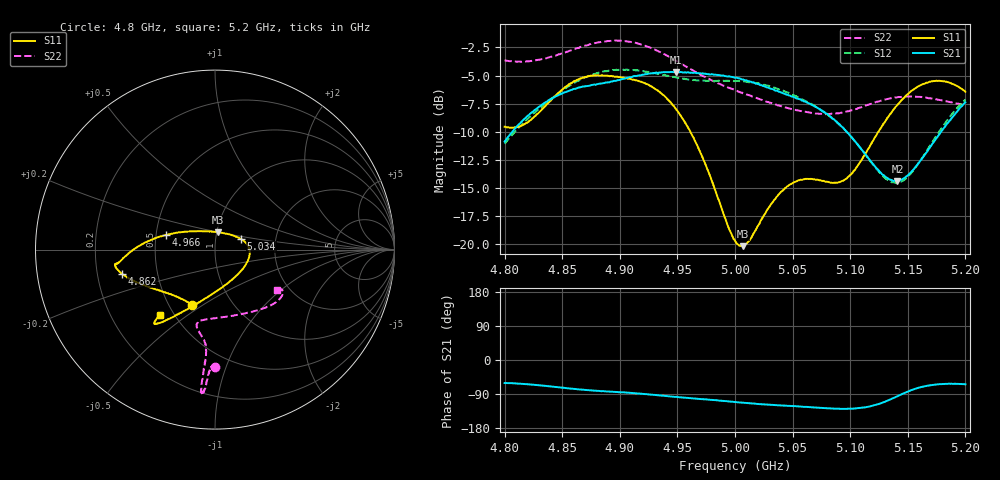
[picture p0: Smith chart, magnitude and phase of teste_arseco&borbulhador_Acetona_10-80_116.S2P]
! Network Analyzer HP8722D
! Hewlett-Packard
! Data name: Linha & Wilkinson
! Saver's name: Rodrigo Anjos
! Comments: Teste da utilização de aquisição
! continua pelo VNA HP8722D
! Time and date: 17/4/2025 15:19
!  Frequency  S11  S21  S12  S22
# HZ  S  MA R 50
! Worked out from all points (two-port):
!   401 points, 4.8 GHz to 5.2 GHz, reference 50 ohm
!   highest |S21| = -4.67 dB at 4.949 GHz (marker M1); lowest = -14.4 dB at 5.141 GHz (marker M2)
!   |S21| within 3 dB of the highest: 4.831 GHz to 5.068 GHz (236.6 MHz wide, 4.78 % of centre); 5.197384 GHz to end of sweep
!   lowest |S11| = -20.2 dB at 5.007 GHz (marker M3), VSWR 1.22, Z = 51 + j9.87 ohm
!   |S11| at or under -10 dB: 4.961 GHz to 5.125 GHz (163.3 MHz wide, 3.24 % of centre)
!   |S22| runs from -8.4 to -1.9 dB; largest |S21 - S12| = 0.88
!   S11 on the Smith chart (normalised r, x): 4.8 GHz: 0.65, -0.45; 4.862 GHz: 0.31, -0.12; 4.966 GHz: 0.57, +0.10; 5.034 GHz: 1.33, +0.16; 5.2 GHz: 0.42, -0.40
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4.8e9  0.3331 -113.0  0.2857 -60.7  0.2796 -174.8  0.6566 -89.9
4.819e9  0.3462 -132.9  0.3677 -63.8  0.3564 -173.3  0.6504 -91.5
4.862e9  0.5352 -165.4  0.4922 -76.7  0.5278 -176.6  0.7419 -93.6
4.867e9  0.5476 -167.3  0.5007 -78.3  0.5432 -177.5  0.7561 -93.9
4.9e9  0.5537 -171.9  0.5374 -85.0  0.597 175.9  0.8036 -95.2
4.934e9  0.4774 -177.9  0.5798 -93.3  0.5721 172.1  0.7183 -95.7
4.949e9  0.3972 174.9  0.5839 -97.0  0.5514 172.2  0.6532 -95.3
4.966e9  0.2828 163.2  0.5771 -101.7  0.5355 173.9  0.5829 -94.9
5e9  0.1038 103.2  0.5498 -110.9  0.5317 176.4  0.4835 -99.1
5.007e9  0.0978 78.9  0.5401 -112.8  0.5291 176.4  0.4683 -100.8
5.013e9  0.1045 60.1  0.5281 -114.3  0.5253 176.2  0.4579 -101.9
5.034e9  0.1571 22.0  0.4856 -119.0  0.497 175.0  0.4191 -103.5
5.049e9  0.1851 6.6  0.4534 -121.4  0.4643 174.4  0.3993 -100.0
5.067e9  0.1946 -12.7  0.4162 -124.8  0.4186 173.8  0.383 -90.9
5.086e9  0.1874 -42.8  0.3588 -128.2  0.3561 173.7  0.3807 -76.7
5.097e9  0.1957 -65.3  0.3158 -128.9  0.3161 174.5  0.3887 -67.6
5.134e9  0.3743 -115.9  0.194 -105.2  0.191 -158.0  0.4441 -42.9
5.141e9  0.4166 -119.9  0.1904 -95.4  0.1875 -147.0  0.4502 -39.8
5.152e9  0.4744 -124.4  0.2067 -80.8  0.2041 -130.1  0.4533 -36.0
5.17e9  0.5287 -128.4  0.2724 -66.4  0.2774 -112.5  0.4454 -31.8
5.184e9  0.5266 -129.8  0.343 -63.0  0.3541 -107.1  0.4316 -30.9
5.2e9  0.4763 -130.2  0.4273 -64.0  0.4395 -106.2  0.4147 -33.2
